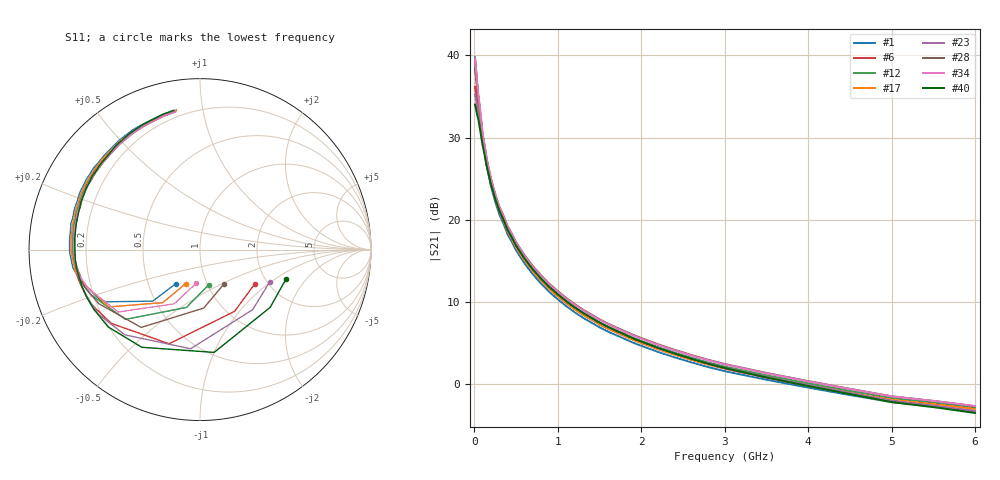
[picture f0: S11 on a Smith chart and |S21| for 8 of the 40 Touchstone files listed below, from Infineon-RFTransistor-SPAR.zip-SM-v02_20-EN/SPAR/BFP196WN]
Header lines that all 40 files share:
! Infineon Technologies  Discrete & RF Semiconductors
! BFP196WN
! Common Emitter S-Parameters:  Jan 2017
# GHz  S  MA  R  50
!  f  S11  S21  S12  S22
! GHz  MAG  ANG  MAG  ANG  MAG  ANG  MAG  ANG
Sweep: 10 MHz to 6 GHz
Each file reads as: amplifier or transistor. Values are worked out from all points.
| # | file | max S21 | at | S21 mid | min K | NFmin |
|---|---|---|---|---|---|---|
| 1 | BFP196WN_w_noise_VCE_3.0V_IC_0.10A.s2p | 39.8 dB | 10 MHz | 3.9 dB at 2.2 GHz | 0.33 | 1.80 dB |
| 2 | BFP196WN_w_noise_VCE_3.0V_IC_5.0mA.s2p | 24.6 dB | 10 MHz | 0.8 dB at 2.2 GHz | -0.02 | 1.08 dB |
| 3 | BFP196WN_w_noise_VCE_3.0V_IC_10mA.s2p | 29.7 dB | 10 MHz | 2.8 dB at 2.2 GHz | 0.01 | 0.92 dB |
| 4 | BFP196WN_w_noise_VCE_3.0V_IC_20mA.s2p | 34.1 dB | 10 MHz | 3.9 dB at 2.2 GHz | 0.05 | 0.96 dB |
| 5 | BFP196WN_w_noise_VCE_3.0V_IC_25mA.s2p | 35.3 dB | 10 MHz | 4.1 dB at 2.2 GHz | 0.07 | 1.00 dB |
| 6 | BFP196WN_w_noise_VCE_3.0V_IC_30mA.s2p | 36.2 dB | 10 MHz | 4.3 dB at 2.2 GHz | 0.11 | 1.06 dB |
| 7 | BFP196WN_w_noise_VCE_3.0V_IC_35mA.s2p | 36.9 dB | 10 MHz | 4.4 dB at 2.2 GHz | 0.11 | 1.11 dB |
| 8 | BFP196WN_w_noise_VCE_3.0V_IC_40mA.s2p | 37.4 dB | 10 MHz | 4.4 dB at 2.2 GHz | 0.14 | 1.16 dB |
| 9 | BFP196WN_w_noise_VCE_3.0V_IC_45mA.s2p | 37.9 dB | 10 MHz | 4.5 dB at 2.2 GHz | 0.14 | 1.22 dB |
| 10 | BFP196WN_w_noise_VCE_3.0V_IC_50mA.s2p | 38.3 dB | 10 MHz | 4.5 dB at 2.2 GHz | 0.17 | 1.27 dB |
| 11 | BFP196WN_w_noise_VCE_3.0V_IC_55mA.s2p | 38.6 dB | 10 MHz | 4.5 dB at 2.2 GHz | 0.18 | 1.34 dB |
| 12 | BFP196WN_w_noise_VCE_3.0V_IC_60mA.s2p | 38.8 dB | 10 MHz | 4.5 dB at 2.2 GHz | 0.20 | 1.38 dB |
| 13 | BFP196WN_w_noise_VCE_3.0V_IC_65mA.s2p | 39.1 dB | 10 MHz | 4.5 dB at 2.2 GHz | 0.22 | 1.43 dB |
| 14 | BFP196WN_w_noise_VCE_3.0V_IC_70mA.s2p | 39.2 dB | 10 MHz | 4.4 dB at 2.2 GHz | 0.23 | 1.47 dB |
| 15 | BFP196WN_w_noise_VCE_3.0V_IC_75mA.s2p | 39.4 dB | 10 MHz | 4.4 dB at 2.2 GHz | 0.23 | 1.53 dB |
| 16 | BFP196WN_w_noise_VCE_3.0V_IC_80mA.s2p | 39.5 dB | 10 MHz | 4.3 dB at 2.2 GHz | 0.25 | 1.58 dB |
| 17 | BFP196WN_w_noise_VCE_3.0V_IC_85mA.s2p | 39.6 dB | 10 MHz | 4.3 dB at 2.2 GHz | 0.27 | 1.64 dB |
| 18 | BFP196WN_w_noise_VCE_3.0V_IC_90mA.s2p | 39.7 dB | 10 MHz | 4.2 dB at 2.2 GHz | 0.30 | 1.69 dB |
| 19 | BFP196WN_w_noise_VCE_4.0V_IC_0.10A.s2p | 39.9 dB | 10 MHz | 4.5 dB at 2.2 GHz | 0.29 | 1.80 dB |
| 20 | BFP196WN_w_noise_VCE_4.0V_IC_5.0mA.s2p | 24.5 dB | 10 MHz | 1.1 dB at 2.2 GHz | 0.01 | 1.08 dB |
| 21 | BFP196WN_w_noise_VCE_4.0V_IC_10mA.s2p | 29.7 dB | 10 MHz | 3.0 dB at 2.2 GHz | 0.03 | 0.92 dB |
| 22 | BFP196WN_w_noise_VCE_4.0V_IC_20mA.s2p | 34.0 dB | 10 MHz | 4.2 dB at 2.2 GHz | 0.04 | 0.96 dB |
| 23 | BFP196WN_w_noise_VCE_4.0V_IC_25mA.s2p | 35.3 dB | 10 MHz | 4.4 dB at 2.2 GHz | 0.09 | 1.00 dB |
| 24 | BFP196WN_w_noise_VCE_4.0V_IC_30mA.s2p | 36.2 dB | 10 MHz | 4.6 dB at 2.2 GHz | 0.10 | 1.06 dB |
| 25 | BFP196WN_w_noise_VCE_4.0V_IC_35mA.s2p | 36.9 dB | 10 MHz | 4.7 dB at 2.2 GHz | 0.10 | 1.11 dB |
| 26 | BFP196WN_w_noise_VCE_4.0V_IC_40mA.s2p | 37.4 dB | 10 MHz | 4.8 dB at 2.2 GHz | 0.13 | 1.16 dB |
| 27 | BFP196WN_w_noise_VCE_4.0V_IC_45mA.s2p | 37.9 dB | 10 MHz | 4.8 dB at 2.2 GHz | 0.15 | 1.22 dB |
| 28 | BFP196WN_w_noise_VCE_4.0V_IC_50mA.s2p | 38.3 dB | 10 MHz | 4.9 dB at 2.2 GHz | 0.17 | 1.27 dB |
| 29 | BFP196WN_w_noise_VCE_4.0V_IC_55mA.s2p | 38.6 dB | 10 MHz | 4.9 dB at 2.2 GHz | 0.17 | 1.34 dB |
| 30 | BFP196WN_w_noise_VCE_4.0V_IC_60mA.s2p | 38.8 dB | 10 MHz | 4.9 dB at 2.2 GHz | 0.19 | 1.38 dB |
| 31 | BFP196WN_w_noise_VCE_4.0V_IC_65mA.s2p | 39.1 dB | 10 MHz | 4.9 dB at 2.2 GHz | 0.21 | 1.43 dB |
| 32 | BFP196WN_w_noise_VCE_4.0V_IC_70mA.s2p | 39.3 dB | 10 MHz | 4.8 dB at 2.2 GHz | 0.22 | 1.47 dB |
| 33 | BFP196WN_w_noise_VCE_4.0V_IC_75mA.s2p | 39.4 dB | 10 MHz | 4.8 dB at 2.2 GHz | 0.23 | 1.53 dB |
| 34 | BFP196WN_w_noise_VCE_4.0V_IC_80mA.s2p | 39.6 dB | 10 MHz | 4.8 dB at 2.2 GHz | 0.25 | 1.58 dB |
| 35 | BFP196WN_w_noise_VCE_4.0V_IC_85mA.s2p | 39.7 dB | 10 MHz | 4.7 dB at 2.2 GHz | 0.25 | 1.64 dB |
| 36 | BFP196WN_w_noise_VCE_4.0V_IC_90mA.s2p | 39.8 dB | 10 MHz | 4.7 dB at 2.2 GHz | 0.28 | 1.69 dB |
| 37 | BFP196WN_w_noise_VCE_5.0V_IC_0.10A.s2p | 40.0 dB | 10 MHz | 4.8 dB at 2.2 GHz | 0.29 | 1.80 dB |
| 38 | BFP196WN_w_noise_VCE_5.0V_IC_5.0mA.s2p | 24.5 dB | 10 MHz | 1.2 dB at 2.2 GHz | -0.01 | 1.08 dB |
| 39 | BFP196WN_w_noise_VCE_5.0V_IC_10mA.s2p | 29.6 dB | 10 MHz | 3.2 dB at 2.2 GHz | 0.00 | 0.92 dB |
| 40 | BFP196WN_w_noise_VCE_5.0V_IC_20mA.s2p | 34.0 dB | 10 MHz | 4.4 dB at 2.2 GHz | 0.06 | 0.96 dB |

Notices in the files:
Hoja de datos/BFP 450/Infineon-RFTransistor-SPAR.zip-SM-v02_20-EN/SPAR/BFP196WN/BFP196WN_w_noise_VCE_3.0V_IC_0.10A.s2p:
(c) 2017  Infineon Technologies AG, Munich
